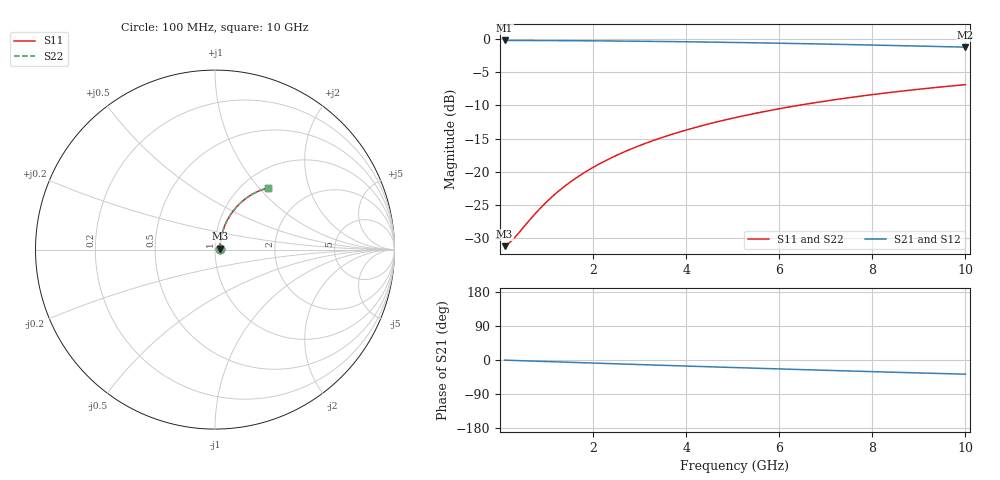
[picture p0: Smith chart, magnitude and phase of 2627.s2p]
# Hz S RI R 50.00
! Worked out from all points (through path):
!   100 points, 100 MHz to 10 GHz, reference 50 ohm
!   highest |S21| = -0.24 dB at 100 MHz (marker M1); lowest = -1.2 dB at 10 GHz (marker M2)
!   group delay of S21, straight-line fit = 10.4 ps
!   lowest |S11| = -31.2 dB at 100 MHz (marker M3), VSWR 1.06, Z = 52.8 + j0.536 ohm
!   |S11| at or under -10 dB: start of sweep to 6.413 GHz
!   |S22| runs from -31.2 to -6.9 dB; largest |S21 - S12| = 0
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1e8  0.0272 0.00507  0.9728 -0.00687  0.9728 -0.00687  0.0272 0.00507
2e8  0.0275 0.0101  0.9725 -0.0137  0.9725 -0.0137  0.0275 0.0101
3e8  0.0278 0.0152  0.9722 -0.0206  0.9722 -0.0206  0.0278 0.0152
8e8  0.0302 0.0404  0.9697 -0.0548  0.9697 -0.0548  0.0302 0.0404
9e8  0.0308 0.0454  0.969 -0.0616  0.969 -0.0616  0.0308 0.0454
1.1e9  0.0324 0.0554  0.9674 -0.0752  0.9674 -0.0752  0.0324 0.0554
1.4e9  0.0351 0.0702  0.9645 -0.0955  0.9645 -0.0955  0.0351 0.0702
1.6e9  0.0373 0.08  0.9622 -0.1089  0.9622 -0.1089  0.0373 0.08
1.8e9  0.0398 0.0897  0.9596 -0.1222  0.9596 -0.1222  0.0398 0.0897
2.1e9  0.044 0.1042  0.9553 -0.1421  0.9553 -0.1421  0.044 0.1042
2.5e9  0.0504 0.123  0.9485 -0.1681  0.9485 -0.1681  0.0504 0.123
2.9e9  0.0579 0.1414  0.9407 -0.1938  0.9407 -0.1938  0.0579 0.1414
3.4e9  0.0685 0.1636  0.9295 -0.225  0.9295 -0.225  0.0685 0.1636
3.8e9  0.0781 0.1806  0.9195 -0.2493  0.9195 -0.2493  0.0781 0.1806
4.2e9  0.0884 0.197  0.9086 -0.273  0.9086 -0.273  0.0884 0.197
4.6e9  0.0995 0.2127  0.8969 -0.2959  0.8969 -0.2959  0.0995 0.2127
5.1e9  0.1144 0.2313  0.8812 -0.3236  0.8812 -0.3236  0.1144 0.2313
5.9e9  0.1403 0.2583  0.8538 -0.3653  0.8538 -0.3653  0.1403 0.2583
6.7e9  0.1682 0.282  0.8242 -0.4036  0.8242 -0.4036  0.1682 0.282
7.5e9  0.1977 0.3023  0.7927 -0.4387  0.7927 -0.4387  0.1977 0.3023
8.4e9  0.2321 0.321  0.7558 -0.474  0.7558 -0.474  0.2321 0.321
1e10  0.2948 0.3439  0.688 -0.5267  0.688 -0.5267  0.2948 0.3439
